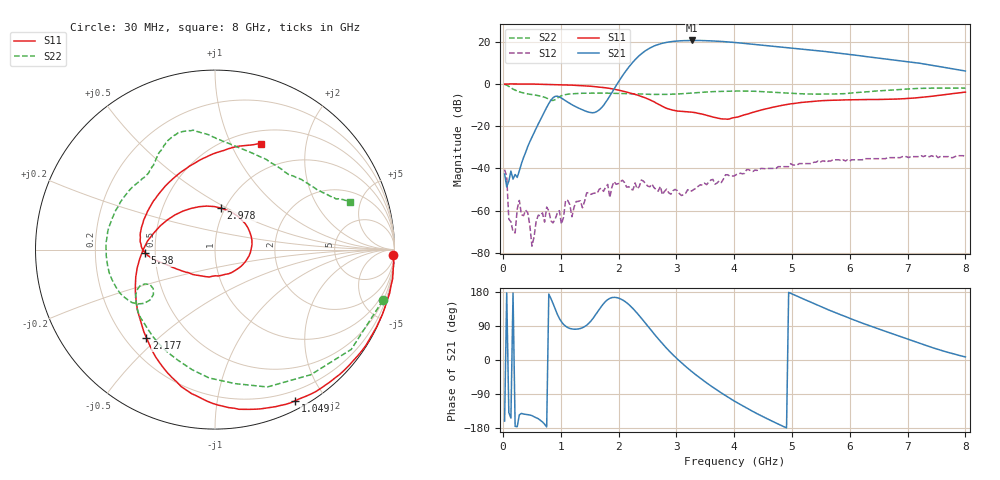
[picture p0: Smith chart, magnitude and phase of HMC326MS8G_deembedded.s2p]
!"HMC326MS8G Deembedded Small Signal S Parameters, reference plane at the pins
!"Port 1=input,Port 2=output
!"Bias: Vpd=5V,Vs=5V, Ibias=130mA
# MHZ S MA R 50
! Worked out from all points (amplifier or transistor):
!   220 points, 30 MHz to 8 GHz, reference 50 ohm
!   highest |S21| = 20.6 dB at 3.269 GHz (marker M1)
!   |S21| within 3 dB of that: 2.586 GHz to 4.767 GHz (2.181 GHz wide, 59.3 % of centre)
!   unconditionally stable (mu >= 1): start of sweep to 104.9 MHz; 343.5 MHz to end of sweep
!   at 1.34 GHz: K = 115.93, MAG = -1.9 dB, |S12| = -55.3 dB
!   at 4.033 GHz: K = 3.77, MAG = 22.6 dB, |S12| = -43.0 dB
!   at 8 GHz: K = 3.21, MAG = 12.6 dB, |S12| = -34.9 dB
!   S11 on the Smith chart (normalised r, x): 30 MHz: 12, -61; 1.049 GHz: 0.09, -1.66; 2.177 GHz: 0.28, -0.46; 2.978 GHz: 0.96, +0.47; 5.38 GHz: 0.44, -0.02; 8 GHz: 0.66, +1.31
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30  0.994 -1.8  0.007348 -161.3  0.009372 -0.7  0.977 -16.8
175.571  1.001 -11.6  0.00558 176.8  0.0003147 39.9  0.755 -81.5
1048.995  0.953 -62.1  0.43 94.1  0.0006892 102.6  0.548 -147.4
1376.53  0.911 -77.7  0.244 85.2  0.001166 129.7  0.603 -167.4
1958.813  0.736 -111.0  0.915 165.0  0.004216 104.1  0.599 163.4
2177.169  0.623 -127.8  2.506 146.6  0.003692 72.3  0.59 153.5
2431.918  0.487 -155.6  5.678 103.7  0.004989 60.5  0.577 142.9
2577.489  0.4 -179.9  7.518 76.0  0.004249 52.7  0.566 137.6
2686.667  0.333 156.7  8.617 56.0  0.002878 29.4  0.563 134.6
2832.237  0.265 119.9  9.673 30.9  0.003228 28.9  0.565 130.9
2977.808  0.234 81.7  10.33 8.3  0.003187 67.6  0.577 127.8
3268.95  0.215 20.3  10.75 -30.7  0.002939 78.0  0.612 121.4
3450.913  0.193 -10.3  10.69 -52.2  0.004039 93.2  0.634 117.7
3632.877  0.165 -40.9  10.46 -71.9  0.005495 90.7  0.66 113.9
4033.196  0.162 -113.7  9.566 -111.1  0.007105 78.5  0.682 106.2
4324.338  0.213 -145.1  8.765 -135.8  0.008452 61.8  0.677 100.5
4615.479  0.27 -160.7  7.964 -158.4  0.01 59.7  0.646 94.2
5379.726  0.389 -177.4  6.272 149.0  0.014 34.5  0.576 69.0
5998.402  0.421 170.9  5.009 110.1  0.015 15.2  0.605 41.7
6689.863  0.435 143.5  3.791 71.7  0.018 -6.0  0.715 23.9
7272.146  0.486 107.1  3.004 40.9  0.019 -24.5  0.79 19.6
8000  0.641 66.5  2.029 8.2  0.018 -45.1  0.799 19.4
